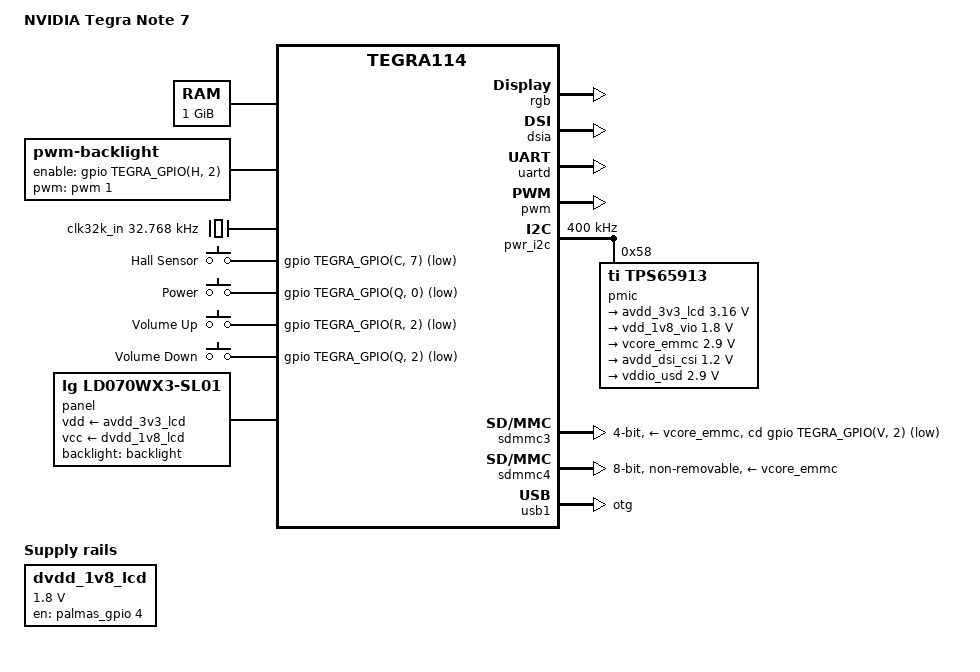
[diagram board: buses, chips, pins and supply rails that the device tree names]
// SPDX-License-Identifier: GPL-2.0
/dts-v1/;

#include <dt-bindings/input/input.h>
#include "tegra114.dtsi"

/ {
	model = "NVIDIA Tegra Note 7";
	compatible = "nvidia,tegratab", "nvidia,tegra114";

	chosen {
		stdout-path = &uartd;
	};

	aliases {
		i2c0 = &pwr_i2c;

		mmc0 = &sdmmc4; /* eMMC */
		mmc1 = &sdmmc3; /* uSD slot */

		usb0 = &usb1;
	};

	memory {
		device_type = "memory";
		reg = <0x80000000 0x40000000>;
	};

	host1x@50000000 {
		dc@54200000 {
			clocks = <&tegra_car TEGRA114_CLK_DISP1>,
				 <&tegra_car TEGRA114_CLK_PLL_D_OUT0>;

			nvidia,180-rotation;

			rgb {
				status = "okay";

				nvidia,panel = <&dsia>;
			};
		};

		dsia: dsi@54300000 {
			status = "okay";

			avdd-dsi-csi-supply = <&avdd_dsi_csi>;

			panel = <&panel>;
		};
	};

	pinmux@70000868 {
		pinctrl-names = "default";
		pinctrl-0 = <&state_default>;

		state_default: pinmux {
			/* ULPI pinmux */
			ulpi_data0 {
				nvidia,pins = "ulpi_data0_po1",
						"ulpi_data1_po2",
						"ulpi_data2_po3",
						"ulpi_data5_po6",
						"ulpi_data6_po7",
						"ulpi_data7_po0";
				nvidia,function = "ulpi";
				nvidia,pull = <TEGRA_PIN_PULL_NONE>;
				nvidia,tristate = <TEGRA_PIN_DISABLE>;
				nvidia,enable-input = <TEGRA_PIN_ENABLE>;
			};
			ulpi_data3 {
				nvidia,pins = "ulpi_data3_po4",
						"ulpi_data4_po5";
				nvidia,function = "ulpi";
				nvidia,pull = <TEGRA_PIN_PULL_UP>;
				nvidia,tristate = <TEGRA_PIN_DISABLE>;
				nvidia,enable-input = <TEGRA_PIN_ENABLE>;
			};

			/* SPI1 pinmux */
			ulpi_clk {
				nvidia,pins = "ulpi_clk_py0",
						"ulpi_nxt_py2",
						"ulpi_stp_py3";
				nvidia,function = "spi1";
				nvidia,pull = <TEGRA_PIN_PULL_NONE>;
				nvidia,tristate = <TEGRA_PIN_DISABLE>;
				nvidia,enable-input = <TEGRA_PIN_DISABLE>;
			};
			ulpi_dir {
				nvidia,pins = "ulpi_dir_py1";
				nvidia,function = "spi1";
				nvidia,pull = <TEGRA_PIN_PULL_NONE>;
				nvidia,tristate = <TEGRA_PIN_DISABLE>;
				nvidia,enable-input = <TEGRA_PIN_ENABLE>;
			};

			/* I2S0 pinmux */
			dap1_pins {
				nvidia,pins = "dap1_fs_pn0",
						"dap1_din_pn1",
						"dap1_dout_pn2",
						"dap1_sclk_pn3";
				nvidia,function = "rsvd4";
				nvidia,pull = <TEGRA_PIN_PULL_DOWN>;
				nvidia,tristate = <TEGRA_PIN_ENABLE>;
				nvidia,enable-input = <TEGRA_PIN_DISABLE>;
			};

			/* I2S1 pinmux */
			dap2_dout {
				nvidia,pins = "dap2_fs_pa2",
						"dap2_sclk_pa3",
						"dap2_dout_pa5";
				nvidia,function = "i2s1";
				nvidia,pull = <TEGRA_PIN_PULL_NONE>;
				nvidia,tristate = <TEGRA_PIN_DISABLE>;
				nvidia,enable-input = <TEGRA_PIN_DISABLE>;
			};
			dap2_din {
				nvidia,pins = "dap2_din_pa4";
				nvidia,function = "i2s1";
				nvidia,pull = <TEGRA_PIN_PULL_NONE>;
				nvidia,tristate = <TEGRA_PIN_DISABLE>;
				nvidia,enable-input = <TEGRA_PIN_ENABLE>;
			};

			/* I2S2 pinmux */
			dap3_fs_pp0 {
				nvidia,pins = "dap3_fs_pp0",
						"dap3_din_pp1",
						"dap3_dout_pp2",
						"dap3_sclk_pp3";
				nvidia,function = "i2s2";
				nvidia,pull = <TEGRA_PIN_PULL_DOWN>;
				nvidia,tristate = <TEGRA_PIN_ENABLE>;
				nvidia,enable-input = <TEGRA_PIN_DISABLE>;
			};

			pv0 {
				nvidia,pins = "pv0";
				nvidia,function = "rsvd2";
				nvidia,pull = <TEGRA_PIN_PULL_DOWN>;
				nvidia,tristate = <TEGRA_PIN_ENABLE>;
				nvidia,enable-input = <TEGRA_PIN_DISABLE>;
			};
			pv1 {
				nvidia,pins = "pv1";
				nvidia,function = "rsvd1";
				nvidia,pull = <TEGRA_PIN_PULL_DOWN>;
				nvidia,tristate = <TEGRA_PIN_ENABLE>;
				nvidia,enable-input = <TEGRA_PIN_DISABLE>;
			};

			/* I2S3 pinmux */
			dap4_din {
				nvidia,pins = "dap4_din_pp5";
				nvidia,function = "i2s3";
				nvidia,pull = <TEGRA_PIN_PULL_NONE>;
				nvidia,tristate = <TEGRA_PIN_DISABLE>;
				nvidia,enable-input = <TEGRA_PIN_ENABLE>;
			};
			dap4_dout {
				nvidia,pins = "dap4_fs_pp4",
						"dap4_dout_pp6",
						"dap4_sclk_pp7";
				nvidia,function = "i2s3";
				nvidia,pull = <TEGRA_PIN_PULL_NONE>;
				nvidia,tristate = <TEGRA_PIN_DISABLE>;
				nvidia,enable-input = <TEGRA_PIN_DISABLE>;
			};

			/* SDMMC1 pinmux */
			sdmmc1_clk {
				nvidia,pins = "sdmmc1_clk_pz0";
				nvidia,function = "sdmmc1";
				nvidia,pull = <TEGRA_PIN_PULL_NONE>;
				nvidia,tristate = <TEGRA_PIN_DISABLE>;
				nvidia,enable-input = <TEGRA_PIN_ENABLE>;
			};
			sdmmc1_cmd {
				nvidia,pins = "sdmmc1_cmd_pz1",
						"sdmmc1_dat0_py7",
						"sdmmc1_dat1_py6",
						"sdmmc1_dat2_py5",
						"sdmmc1_dat3_py4";
				nvidia,function = "sdmmc1";
				nvidia,pull = <TEGRA_PIN_PULL_UP>;
				nvidia,tristate = <TEGRA_PIN_DISABLE>;
				nvidia,enable-input = <TEGRA_PIN_ENABLE>;
			};
			sdmmc1_wp_n {
				nvidia,pins = "sdmmc1_wp_n_pv3";
				nvidia,function = "sdmmc1";
				nvidia,pull = <TEGRA_PIN_PULL_NONE>;
				nvidia,tristate = <TEGRA_PIN_DISABLE>;
				nvidia,enable-input = <TEGRA_PIN_DISABLE>;
			};

			/* SDMMC3 pinmux */
			sdmmc3_clk {
				nvidia,pins = "sdmmc3_clk_pa6";
				nvidia,function = "sdmmc3";
				nvidia,pull = <TEGRA_PIN_PULL_NONE>;
				nvidia,tristate = <TEGRA_PIN_DISABLE>;
				nvidia,enable-input = <TEGRA_PIN_DISABLE>;
			};
			sdmmc3_cmd {
				nvidia,pins = "sdmmc3_cmd_pa7",
						"sdmmc3_dat0_pb7",
						"sdmmc3_dat1_pb6",
						"sdmmc3_dat2_pb5",
						"sdmmc3_dat3_pb4",
						"sdmmc3_cd_n_pv2";
				nvidia,function = "sdmmc3";
				nvidia,pull = <TEGRA_PIN_PULL_UP>;
				nvidia,tristate = <TEGRA_PIN_DISABLE>;
				nvidia,enable-input = <TEGRA_PIN_ENABLE>;
			};
			sdmmc3_clk_lb {
				nvidia,pins = "sdmmc3_clk_lb_out_pee4",
						"sdmmc3_clk_lb_in_pee5";
				nvidia,function = "sdmmc3";
				nvidia,pull = <TEGRA_PIN_PULL_UP>;
				nvidia,tristate = <TEGRA_PIN_DISABLE>;
				nvidia,enable-input = <TEGRA_PIN_ENABLE>;
			};

			/* SDMMC4 pinmux */
			sdmmc4_clk {
				nvidia,pins = "sdmmc4_clk_pcc4";
				nvidia,function = "sdmmc4";
				nvidia,pull = <TEGRA_PIN_PULL_NONE>;
				nvidia,tristate = <TEGRA_PIN_DISABLE>;
				nvidia,enable-input = <TEGRA_PIN_ENABLE>;
			};
			sdmmc4_cmd {
				nvidia,pins = "sdmmc4_cmd_pt7",
						"sdmmc4_dat0_paa0",
						"sdmmc4_dat1_paa1",
						"sdmmc4_dat2_paa2",
						"sdmmc4_dat3_paa3",
						"sdmmc4_dat4_paa4",
						"sdmmc4_dat5_paa5",
						"sdmmc4_dat6_paa6",
						"sdmmc4_dat7_paa7";
				nvidia,function = "sdmmc4";
				nvidia,pull = <TEGRA_PIN_PULL_UP>;
				nvidia,tristate = <TEGRA_PIN_DISABLE>;
				nvidia,enable-input = <TEGRA_PIN_ENABLE>;
			};

			/* EXTPERIPH1 pinmux */
			clk1_req {
				nvidia,pins = "clk1_req_pee2";
				nvidia,function = "rsvd3";
				nvidia,pull = <TEGRA_PIN_PULL_DOWN>;
				nvidia,tristate = <TEGRA_PIN_ENABLE>;
				nvidia,enable-input = <TEGRA_PIN_DISABLE>;
			};
			clk1_out {
				nvidia,pins = "clk1_out_pw4";
				nvidia,function = "extperiph1";
				nvidia,pull = <TEGRA_PIN_PULL_NONE>;
				nvidia,tristate = <TEGRA_PIN_DISABLE>;
				nvidia,enable-input = <TEGRA_PIN_DISABLE>;
			};

			/* EXTPERIPH2 pinmux */
			clk2_req {
				nvidia,pins = "clk2_req_pcc5";
				nvidia,function = "rsvd2";
				nvidia,pull = <TEGRA_PIN_PULL_NONE>;
				nvidia,tristate = <TEGRA_PIN_DISABLE>;
				nvidia,enable-input = <TEGRA_PIN_DISABLE>;
			};
			clk2_out {
				nvidia,pins = "clk2_out_pw5";
				nvidia,function = "extperiph2";
				nvidia,pull = <TEGRA_PIN_PULL_NONE>;
				nvidia,tristate = <TEGRA_PIN_DISABLE>;
				nvidia,enable-input = <TEGRA_PIN_DISABLE>;
			};

			/* EXTPERIPH3 pinmux */
			clk3_req_pee1 {
				nvidia,pins = "clk3_req_pee1";
				nvidia,function = "rsvd2";
				nvidia,pull = <TEGRA_PIN_PULL_NONE>;
				nvidia,tristate = <TEGRA_PIN_DISABLE>;
				nvidia,enable-input = <TEGRA_PIN_DISABLE>;
			};
			clk3_out {
				nvidia,pins = "clk3_out_pee0";
				nvidia,function = "extperiph3";
				nvidia,pull = <TEGRA_PIN_PULL_NONE>;
				nvidia,tristate = <TEGRA_PIN_DISABLE>;
				nvidia,enable-input = <TEGRA_PIN_DISABLE>;
			};

			/* CLDVFS pinmux */
			dvfs_pinmux {
				nvidia,pins = "dvfs_pwm_px0",
						"dvfs_clk_px2";
				nvidia,function = "cldvfs";
				nvidia,pull = <TEGRA_PIN_PULL_NONE>;
				nvidia,tristate = <TEGRA_PIN_DISABLE>;
				nvidia,enable-input = <TEGRA_PIN_DISABLE>;
			};

			/* HDMI pinmux */
			hdmi_irq {
				nvidia,pins = "hdmi_int_pn7";
				nvidia,function = "rsvd1";
				nvidia,pull = <TEGRA_PIN_PULL_DOWN>;
				nvidia,tristate = <TEGRA_PIN_DISABLE>;
				nvidia,enable-input = <TEGRA_PIN_ENABLE>;
				nvidia,rcv-sel = <TEGRA_PIN_DISABLE>;
			};
			hdmi_cec {
				nvidia,pins = "hdmi_cec_pee3";
				nvidia,function = "cec";
				nvidia,pull = <TEGRA_PIN_PULL_NONE>;
				nvidia,tristate = <TEGRA_PIN_DISABLE>;
				nvidia,enable-input = <TEGRA_PIN_ENABLE>;
				nvidia,open-drain = <TEGRA_PIN_DISABLE>;
			};

			/* I2C1 pinmux */
			gen1_i2c {
				nvidia,pins = "gen1_i2c_scl_pc4",
						"gen1_i2c_sda_pc5";
				nvidia,function = "i2c1";
				nvidia,pull = <TEGRA_PIN_PULL_NONE>;
				nvidia,tristate = <TEGRA_PIN_DISABLE>;
				nvidia,enable-input = <TEGRA_PIN_ENABLE>;
				nvidia,open-drain = <TEGRA_PIN_ENABLE>;
			};

			/* I2C2 pinmux */
			gen2_i2c {
				nvidia,pins = "gen2_i2c_scl_pt5",
						"gen2_i2c_sda_pt6";
				nvidia,function = "i2c2";
				nvidia,pull = <TEGRA_PIN_PULL_NONE>;
				nvidia,tristate = <TEGRA_PIN_DISABLE>;
				nvidia,enable-input = <TEGRA_PIN_ENABLE>;
				nvidia,open-drain = <TEGRA_PIN_ENABLE>;
			};

			/* I2C3 pinmux */
			cam_i2c {
				nvidia,pins = "cam_i2c_scl_pbb1",
						"cam_i2c_sda_pbb2";
				nvidia,function = "i2c3";
				nvidia,pull = <TEGRA_PIN_PULL_NONE>;
				nvidia,tristate = <TEGRA_PIN_DISABLE>;
				nvidia,enable-input = <TEGRA_PIN_ENABLE>;
				nvidia,open-drain = <TEGRA_PIN_ENABLE>;
			};

			/* I2C4 pinmux */
			ddc_scl_pv4 {
				nvidia,pins = "ddc_scl_pv4",
						"ddc_sda_pv5";
				nvidia,function = "i2c4";
				nvidia,pull = <TEGRA_PIN_PULL_NONE>;
				nvidia,tristate = <TEGRA_PIN_DISABLE>;
				nvidia,enable-input = <TEGRA_PIN_ENABLE>;
				nvidia,rcv-sel = <TEGRA_PIN_DISABLE>;
			};

			/* I2CPWR pinmux */
			pwr_i2c {
				nvidia,pins = "pwr_i2c_scl_pz6",
						"pwr_i2c_sda_pz7";
				nvidia,function = "i2cpwr";
				nvidia,pull = <TEGRA_PIN_PULL_NONE>;
				nvidia,tristate = <TEGRA_PIN_DISABLE>;
				nvidia,enable-input = <TEGRA_PIN_ENABLE>;
				nvidia,open-drain = <TEGRA_PIN_ENABLE>;
			};

			/* UARTA pinmux */
			uarta_out {
				nvidia,pins = "kb_row9_ps1";
				nvidia,function = "uarta";
				nvidia,pull = <TEGRA_PIN_PULL_NONE>;
				nvidia,tristate = <TEGRA_PIN_DISABLE>;
				nvidia,enable-input = <TEGRA_PIN_DISABLE>;
			};
			uarta_in {
				nvidia,pins = "kb_row10_ps2";
				nvidia,function = "uarta";
				nvidia,pull = <TEGRA_PIN_PULL_NONE>;
				nvidia,tristate = <TEGRA_PIN_DISABLE>;
				nvidia,enable-input = <TEGRA_PIN_ENABLE>;
			};

			/* UARTB pinmux */
			uart2_cts_rts {
				nvidia,pins = "uart2_cts_n_pj5",
						"uart2_rts_n_pj6";
				nvidia,function = "rsvd3";
				nvidia,pull = <TEGRA_PIN_PULL_DOWN>;
				nvidia,tristate = <TEGRA_PIN_ENABLE>;
				nvidia,enable-input = <TEGRA_PIN_DISABLE>;
			};

			/* UARTC pinmux */
			uart3_cts_rxd {
				nvidia,pins = "uart3_cts_n_pa1",
						"uart3_rxd_pw7";
				nvidia,function = "uartc";
				nvidia,pull = <TEGRA_PIN_PULL_UP>;
				nvidia,tristate = <TEGRA_PIN_DISABLE>;
				nvidia,enable-input = <TEGRA_PIN_ENABLE>;
			};
			uart3_rts_txd {
				nvidia,pins = "uart3_rts_n_pc0",
						"uart3_txd_pw6";
				nvidia,function = "uartc";
				nvidia,pull = <TEGRA_PIN_PULL_NONE>;
				nvidia,tristate = <TEGRA_PIN_DISABLE>;
				nvidia,enable-input = <TEGRA_PIN_DISABLE>;
			};

			/* UARTD pinmux */
			gmi_a17 {
				nvidia,pins = "gmi_a17_pb0";
				nvidia,function = "uartd";
				nvidia,pull = <TEGRA_PIN_PULL_UP>;
				nvidia,tristate = <TEGRA_PIN_DISABLE>;
				nvidia,enable-input = <TEGRA_PIN_ENABLE>;
			};
			gmi_a18 {
				nvidia,pins = "gmi_a18_pb1";
				nvidia,function = "uartd";
				nvidia,pull = <TEGRA_PIN_PULL_NONE>;
				nvidia,tristate = <TEGRA_PIN_DISABLE>;
				nvidia,enable-input = <TEGRA_PIN_ENABLE>;
			};
			uartd_out {
				nvidia,pins = "gmi_a16_pj7",
						"gmi_a19_pk7";
				nvidia,function = "uartd";
				nvidia,pull = <TEGRA_PIN_PULL_NONE>;
				nvidia,tristate = <TEGRA_PIN_DISABLE>;
				nvidia,enable-input = <TEGRA_PIN_DISABLE>;
			};

			/* PORT U */
			pu0 {
				nvidia,pins = "pu0";
				nvidia,function = "rsvd3";
				nvidia,pull = <TEGRA_PIN_PULL_DOWN>;
				nvidia,tristate = <TEGRA_PIN_ENABLE>;
				nvidia,enable-input = <TEGRA_PIN_DISABLE>;
			};
			pu1_2 {
				nvidia,pins = "pu1", "pu2";
				nvidia,function = "rsvd1";
				nvidia,pull = <TEGRA_PIN_PULL_DOWN>;
				nvidia,tristate = <TEGRA_PIN_ENABLE>;
				nvidia,enable-input = <TEGRA_PIN_DISABLE>;
			};
			pu3 {
				nvidia,pins = "pu3";
				nvidia,function = "pwm0";
				nvidia,pull = <TEGRA_PIN_PULL_DOWN>;
				nvidia,tristate = <TEGRA_PIN_ENABLE>;
				nvidia,enable-input = <TEGRA_PIN_DISABLE>;
			};
			pu4 {
				nvidia,pins = "pu4";
				nvidia,function = "pwm1";
				nvidia,pull = <TEGRA_PIN_PULL_DOWN>;
				nvidia,tristate = <TEGRA_PIN_ENABLE>;
				nvidia,enable-input = <TEGRA_PIN_DISABLE>;
			};
			pu5 {
				nvidia,pins = "pu5";
				nvidia,function = "pwm2";
				nvidia,pull = <TEGRA_PIN_PULL_UP>;
				nvidia,tristate = <TEGRA_PIN_DISABLE>;
				nvidia,enable-input = <TEGRA_PIN_ENABLE>;
			};
			pu6 {
				nvidia,pins = "pu6";
				nvidia,function = "pwm3";
				nvidia,pull = <TEGRA_PIN_PULL_NONE>;
				nvidia,tristate = <TEGRA_PIN_DISABLE>;
				nvidia,enable-input = <TEGRA_PIN_ENABLE>;
			};

			/* GMI section */
			gmi_wp_n_pc7 {
				nvidia,pins = "gmi_wp_n_pc7",
						"gmi_adv_n_pk0",
						"gmi_cs0_n_pj0",
						"gmi_wr_n_pi0";
				nvidia,function = "rsvd1";
				nvidia,pull = <TEGRA_PIN_PULL_UP>;
				nvidia,tristate = <TEGRA_PIN_DISABLE>;
				nvidia,enable-input = <TEGRA_PIN_ENABLE>;
			};
			gmi_iordy_pi5 {
				nvidia,pins = "gmi_iordy_pi5";
				nvidia,function = "rsvd2";
				nvidia,pull = <TEGRA_PIN_PULL_DOWN>;
				nvidia,tristate = <TEGRA_PIN_ENABLE>;
				nvidia,enable-input = <TEGRA_PIN_DISABLE>;
			};
			gmi_wait_pi7 {
				nvidia,pins = "gmi_wait_pi7";
				nvidia,function = "nand";
				nvidia,pull = <TEGRA_PIN_PULL_NONE>;
				nvidia,tristate = <TEGRA_PIN_DISABLE>;
				nvidia,enable-input = <TEGRA_PIN_DISABLE>;
			};
			gmi_clk_pk1 {
				nvidia,pins = "gmi_clk_pk1",
						"gmi_ad10_ph2",
						"gmi_ad11_ph3",
						"gmi_ad14_ph6",
						"gmi_cs3_n_pk4";
				nvidia,function = "gmi";
				nvidia,pull = <TEGRA_PIN_PULL_NONE>;
				nvidia,tristate = <TEGRA_PIN_DISABLE>;
				nvidia,enable-input = <TEGRA_PIN_DISABLE>;
			};
			gmi_cs2_n_pk3 {
				nvidia,pins = "gmi_cs2_n_pk3";
				nvidia,function = "gmi";
				nvidia,pull = <TEGRA_PIN_PULL_UP>;
				nvidia,tristate = <TEGRA_PIN_DISABLE>;
				nvidia,enable-input = <TEGRA_PIN_ENABLE>;
			};
			gmi_cs4_n_pk2 {
				nvidia,pins = "gmi_cs4_n_pk2";
				nvidia,function = "gmi";
				nvidia,pull = <TEGRA_PIN_PULL_NONE>;
				nvidia,tristate = <TEGRA_PIN_ENABLE>;
				nvidia,enable-input = <TEGRA_PIN_ENABLE>;
			};
			gmi_cs6_n_pi3 {
				nvidia,pins = "gmi_cs6_n_pi3";
				nvidia,function = "nand";
				nvidia,pull = <TEGRA_PIN_PULL_DOWN>;
				nvidia,tristate = <TEGRA_PIN_ENABLE>;
				nvidia,enable-input = <TEGRA_PIN_DISABLE>;
			};
			gmi_cs7_n_pi6 {
				nvidia,pins = "gmi_cs7_n_pi6";
				nvidia,function = "nand";
				nvidia,pull = <TEGRA_PIN_PULL_NONE>;
				nvidia,tristate = <TEGRA_PIN_DISABLE>;
				nvidia,enable-input = <TEGRA_PIN_ENABLE>;
			};
			gmi_ad0_pg0 {
				nvidia,pins = "gmi_ad0_pg0";
				nvidia,function = "rsvd1";
				nvidia,pull = <TEGRA_PIN_PULL_NONE>;
				nvidia,tristate = <TEGRA_PIN_DISABLE>;
				nvidia,enable-input = <TEGRA_PIN_DISABLE>;
			};
			gmi_ad1_pg1 {
				nvidia,pins = "gmi_ad1_pg1",
						"gmi_ad4_pg4",
						"gmi_ad5_pg5",
						"gmi_ad6_pg6",
						"gmi_ad7_pg7";
				nvidia,function = "rsvd1";
				nvidia,pull = <TEGRA_PIN_PULL_DOWN>;
				nvidia,tristate = <TEGRA_PIN_ENABLE>;
				nvidia,enable-input = <TEGRA_PIN_DISABLE>;
			};
			gmi_ad2_pg2 {
				nvidia,pins = "gmi_ad2_pg2",
						"gmi_ad3_pg3",
						"gmi_oe_n_pi1";
				nvidia,function = "rsvd1";
				nvidia,pull = <TEGRA_PIN_PULL_NONE>;
				nvidia,tristate = <TEGRA_PIN_DISABLE>;
				nvidia,enable-input = <TEGRA_PIN_ENABLE>;
			};
			gmi_ad8_ph0 {
				nvidia,pins = "gmi_ad8_ph0";
				nvidia,function = "gmi";
				nvidia,pull = <TEGRA_PIN_PULL_DOWN>;
				nvidia,tristate = <TEGRA_PIN_ENABLE>;
				nvidia,enable-input = <TEGRA_PIN_DISABLE>;
			};
			gmi_ad9 {
				nvidia,pins = "gmi_ad9_ph1";
				nvidia,function = "pwm1";
				nvidia,pull = <TEGRA_PIN_PULL_NONE>;
				nvidia,tristate = <TEGRA_PIN_DISABLE>;
				nvidia,enable-input = <TEGRA_PIN_DISABLE>;
			};
			gmi_ad12_ph4 {
				nvidia,pins = "gmi_ad12_ph4";
				nvidia,function = "rsvd4";
				nvidia,pull = <TEGRA_PIN_PULL_UP>;
				nvidia,tristate = <TEGRA_PIN_DISABLE>;
				nvidia,enable-input = <TEGRA_PIN_ENABLE>;
			};
			gmi_ad13_ph5 {
				nvidia,pins = "gmi_ad13_ph5";
				nvidia,function = "rsvd4";
				nvidia,pull = <TEGRA_PIN_PULL_NONE>;
				nvidia,tristate = <TEGRA_PIN_DISABLE>;
				nvidia,enable-input = <TEGRA_PIN_DISABLE>;
			};
			gmi_ad15_ph7 {
				nvidia,pins = "gmi_ad15_ph7";
				nvidia,function = "gmi";
				nvidia,pull = <TEGRA_PIN_PULL_DOWN>;
				nvidia,tristate = <TEGRA_PIN_ENABLE>;
				nvidia,enable-input = <TEGRA_PIN_DISABLE>;
			};
			gmi_dqs_p_pj3 {
				nvidia,pins = "gmi_dqs_p_pj3";
				nvidia,function = "nand";
				nvidia,pull = <TEGRA_PIN_PULL_UP>;
				nvidia,tristate = <TEGRA_PIN_DISABLE>;
				nvidia,enable-input = <TEGRA_PIN_ENABLE>;
			};
			gmi_rst_n_pi4 {
				nvidia,pins = "gmi_rst_n_pi4";
				nvidia,function = "rsvd4";
				nvidia,pull = <TEGRA_PIN_PULL_NONE>;
				nvidia,tristate = <TEGRA_PIN_DISABLE>;
				nvidia,enable-input = <TEGRA_PIN_DISABLE>;
			};
			gmi_clk_lb {
				nvidia,pins = "gmi_clk_lb";
				nvidia,function = "gmi";
				nvidia,pull = <TEGRA_PIN_PULL_NONE>;
				nvidia,tristate = <TEGRA_PIN_DISABLE>;
				nvidia,enable-input = <TEGRA_PIN_ENABLE>;
			};

			/* VI_ALT3 pinmux */
			cam_mclk {
				nvidia,pins = "pbb0", "cam_mclk_pcc0";
				nvidia,function = "vi_alt3";
				nvidia,pull = <TEGRA_PIN_PULL_NONE>;
				nvidia,tristate = <TEGRA_PIN_DISABLE>;
				nvidia,enable-input = <TEGRA_PIN_DISABLE>;
			};

			/* PORT BB */
			port_bb {
				nvidia,pins = "pbb3", "pbb4", "pbb5",
						"pbb6", "pbb7";
				nvidia,function = "rsvd4";
				nvidia,pull = <TEGRA_PIN_PULL_NONE>;
				nvidia,tristate = <TEGRA_PIN_DISABLE>;
				nvidia,enable-input = <TEGRA_PIN_DISABLE>;
			};

			/* PORT CC */
			port_cc {
				nvidia,pins = "pcc1", "pcc2";
				nvidia,function = "rsvd2";
				nvidia,pull = <TEGRA_PIN_PULL_DOWN>;
				nvidia,tristate = <TEGRA_PIN_DISABLE>;
				nvidia,enable-input = <TEGRA_PIN_ENABLE>;
			};

			/* RTCK pinmux */
			jtag_rtck {
				nvidia,pins = "jtag_rtck";
				nvidia,function = "rtck";
				nvidia,pull = <TEGRA_PIN_PULL_NONE>;
				nvidia,tristate = <TEGRA_PIN_DISABLE>;
				nvidia,enable-input = <TEGRA_PIN_ENABLE>;
			};

			/* KBC pinmux */
			kb_row0_pr0 {
				nvidia,pins = "kb_row0_pr0",
						"kb_row1_pr1";
				nvidia,function = "rsvd2";
				nvidia,pull = <TEGRA_PIN_PULL_NONE>;
				nvidia,tristate = <TEGRA_PIN_DISABLE>;
				nvidia,enable-input = <TEGRA_PIN_DISABLE>;
			};
			kb_row2_pr2 {
				nvidia,pins = "kb_row2_pr2",
						"kb_col0_pq0";
				nvidia,function = "kbc";
				nvidia,pull = <TEGRA_PIN_PULL_UP>;
				nvidia,tristate = <TEGRA_PIN_DISABLE>;
				nvidia,enable-input = <TEGRA_PIN_ENABLE>;
			};
			kb_row3_pr3 {
				nvidia,pins = "kb_row3_pr3";
				nvidia,function = "rsvd3";
				nvidia,pull = <TEGRA_PIN_PULL_UP>;
				nvidia,tristate = <TEGRA_PIN_DISABLE>;
				nvidia,enable-input = <TEGRA_PIN_ENABLE>;
			};
			kb_row4_pr4 {
				nvidia,pins = "kb_row4_pr4",
						"kb_row5_pr5",
						"kb_row6_pr6",
						"kb_col3_pq3",
						"kb_col4_pq4";
				nvidia,function = "kbc";
				nvidia,pull = <TEGRA_PIN_PULL_DOWN>;
				nvidia,tristate = <TEGRA_PIN_ENABLE>;
				nvidia,enable-input = <TEGRA_PIN_DISABLE>;
			};
			kb_row7_pr7 {
				nvidia,pins = "kb_row7_pr7",
						"kb_col2_pq2",
						"kb_col5_pq5";
				nvidia,function = "rsvd2";
				nvidia,pull = <TEGRA_PIN_PULL_UP>;
				nvidia,tristate = <TEGRA_PIN_DISABLE>;
				nvidia,enable-input = <TEGRA_PIN_ENABLE>;
			};
			kb_row8_ps0 {
				nvidia,pins = "kb_row8_ps0",
						"kb_col1_pq1",
						"kb_col6_pq6",
						"kb_col7_pq7";
				nvidia,function = "rsvd2";
				nvidia,pull = <TEGRA_PIN_PULL_DOWN>;
				nvidia,tristate = <TEGRA_PIN_ENABLE>;
				nvidia,enable-input = <TEGRA_PIN_DISABLE>;
			};

			/* CORE pinmux */
			sys_clk_req {
				nvidia,pins = "sys_clk_req_pz5";
				nvidia,function = "rsvd2";
				nvidia,pull = <TEGRA_PIN_PULL_DOWN>;
				nvidia,tristate = <TEGRA_PIN_ENABLE>;
				nvidia,enable-input = <TEGRA_PIN_DISABLE>;
			};
			clk_32k_out {
				nvidia,pins = "clk_32k_out_pa0",
						"gmi_cs1_n_pj2";
				nvidia,function = "soc";
				nvidia,pull = <TEGRA_PIN_PULL_UP>;
				nvidia,tristate = <TEGRA_PIN_ENABLE>;
				nvidia,enable-input = <TEGRA_PIN_ENABLE>;
			};
			clk_32k_in {
				nvidia,pins = "clk_32k_in";
				nvidia,function = "clk";
				nvidia,pull = <TEGRA_PIN_PULL_NONE>;
				nvidia,tristate = <TEGRA_PIN_DISABLE>;
				nvidia,enable-input = <TEGRA_PIN_ENABLE>;
			};
			core_pwr_req {
				nvidia,pins = "core_pwr_req";
				nvidia,function = "pwron";
				nvidia,pull = <TEGRA_PIN_PULL_NONE>;
				nvidia,tristate = <TEGRA_PIN_DISABLE>;
				nvidia,enable-input = <TEGRA_PIN_DISABLE>;
			};
			cpu_pwr_req {
				nvidia,pins = "cpu_pwr_req";
				nvidia,function = "cpu";
				nvidia,pull = <TEGRA_PIN_PULL_NONE>;
				nvidia,tristate = <TEGRA_PIN_DISABLE>;
				nvidia,enable-input = <TEGRA_PIN_DISABLE>;
			};
			pwr_int_n {
				nvidia,pins = "pwr_int_n";
				nvidia,function = "pmi";
				nvidia,pull = <TEGRA_PIN_PULL_UP>;
				nvidia,tristate = <TEGRA_PIN_DISABLE>;
				nvidia,enable-input = <TEGRA_PIN_ENABLE>;
			};
			owr {
				nvidia,pins = "owr";
				nvidia,function = "rsvd2";
				nvidia,pull = <TEGRA_PIN_PULL_DOWN>;
				nvidia,tristate = <TEGRA_PIN_ENABLE>;
				nvidia,enable-input = <TEGRA_PIN_DISABLE>;
				nvidia,rcv-sel = <TEGRA_PIN_DISABLE>;
			};
			reset_out_n {
				nvidia,pins = "reset_out_n";
				nvidia,function = "reset_out_n";
				nvidia,pull = <TEGRA_PIN_PULL_NONE>;
				nvidia,tristate = <TEGRA_PIN_DISABLE>;
				nvidia,enable-input = <TEGRA_PIN_DISABLE>;
			};

			/* AUD pinmux */
			gpio_x1_aud_px1 {
				nvidia,pins = "gpio_x1_aud_px1";
				nvidia,function = "rsvd2";
				nvidia,pull = <TEGRA_PIN_PULL_UP>;
				nvidia,tristate = <TEGRA_PIN_DISABLE>;
				nvidia,enable-input = <TEGRA_PIN_ENABLE>;
			};
			gpio_x3_aud_px3 {
				nvidia,pins = "gpio_x3_aud_px3";
				nvidia,function = "rsvd3";
				nvidia,pull = <TEGRA_PIN_PULL_DOWN>;
				nvidia,tristate = <TEGRA_PIN_ENABLE>;
				nvidia,enable-input = <TEGRA_PIN_DISABLE>;
			};
			gpio_x4_aud_px4 {
				nvidia,pins = "gpio_x4_aud_px4",
						"gpio_x5_aud_px5",
						"gpio_x7_aud_px7";
				nvidia,function = "rsvd1";
				nvidia,pull = <TEGRA_PIN_PULL_DOWN>;
				nvidia,tristate = <TEGRA_PIN_ENABLE>;
				nvidia,enable-input = <TEGRA_PIN_DISABLE>;
			};
			gpio_x6_aud_px6 {
				nvidia,pins = "gpio_x6_aud_px6";
				nvidia,function = "rsvd4";
				nvidia,pull = <TEGRA_PIN_PULL_DOWN>;
				nvidia,tristate = <TEGRA_PIN_ENABLE>;
				nvidia,enable-input = <TEGRA_PIN_DISABLE>;
			};
			gpio_w2_aud_pw2 {
				nvidia,pins = "gpio_w2_aud_pw2";
				nvidia,function = "rsvd2";
				nvidia,pull = <TEGRA_PIN_PULL_DOWN>;
				nvidia,tristate = <TEGRA_PIN_ENABLE>;
				nvidia,enable-input = <TEGRA_PIN_DISABLE>;
			};
			gpio_w3_aud_pw3 {
				nvidia,pins = "gpio_w3_aud_pw3";
				nvidia,function = "spi6";
				nvidia,pull = <TEGRA_PIN_PULL_UP>;
				nvidia,tristate = <TEGRA_PIN_DISABLE>;
				nvidia,enable-input = <TEGRA_PIN_ENABLE>;
			};

			/* USB pinmux */
			usb_vbus_en {
				nvidia,pins = "usb_vbus_en0_pn4",
						"usb_vbus_en1_pn5";
				nvidia,function = "rsvd2";
				nvidia,pull = <TEGRA_PIN_PULL_DOWN>;
				nvidia,tristate = <TEGRA_PIN_ENABLE>;
				nvidia,enable-input = <TEGRA_PIN_DISABLE>;
				nvidia,open-drain = <TEGRA_PIN_DISABLE>;
			};

			/* GPIO power/drive control */
			drive_sdio1 {
				nvidia,pins = "drive_sdio1";
				nvidia,high-speed-mode = <TEGRA_PIN_ENABLE>;
				nvidia,schmitt = <TEGRA_PIN_DISABLE>;
				nvidia,pull-down-strength = <36>;
				nvidia,pull-up-strength = <20>;
				nvidia,slew-rate-rising = <TEGRA_PIN_SLEW_RATE_SLOW>;
				nvidia,slew-rate-falling = <TEGRA_PIN_SLEW_RATE_SLOW>;
			};
			drive_sdio3 {
				nvidia,pins = "drive_sdio3";
				nvidia,high-speed-mode = <TEGRA_PIN_ENABLE>;
				nvidia,schmitt = <TEGRA_PIN_DISABLE>;
				nvidia,pull-down-strength = <22>;
				nvidia,pull-up-strength = <36>;
				nvidia,slew-rate-rising = <TEGRA_PIN_SLEW_RATE_FASTEST>;
				nvidia,slew-rate-falling = <TEGRA_PIN_SLEW_RATE_FASTEST>;
			};
			drive_gma {
				nvidia,pins = "drive_gma";
				nvidia,high-speed-mode = <TEGRA_PIN_ENABLE>;
				nvidia,schmitt = <TEGRA_PIN_DISABLE>;
				nvidia,pull-down-strength = <2>;
				nvidia,pull-up-strength = <2>;
				nvidia,slew-rate-rising = <TEGRA_PIN_SLEW_RATE_FASTEST>;
				nvidia,slew-rate-falling = <TEGRA_PIN_SLEW_RATE_FASTEST>;
			};
		};
	};

	uartd: serial@70006300 {
		status = "okay";
	};

	pwm: pwm@7000a000 {
		status = "okay";
	};

	pwr_i2c: i2c@7000d000 {
		status = "okay";
		clock-frequency = <400000>;

		/* Texas Instruments TPS65913 PMIC */
		pmic: tps65913@58 {
			compatible = "ti,tps65913";
			reg = <0x58>;

			interrupts = <GIC_SPI 86 IRQ_TYPE_LEVEL_HIGH>;
			#interrupt-cells = <2>;
			interrupt-controller;

			ti,system-power-controller;

			palmas_gpio: gpio {
				compatible = "ti,palmas-gpio";
				gpio-controller;
				#gpio-cells = <2>;
			};

			pmic {
				compatible = "ti,tps65913-pmic";

				regulators {
					avdd_3v3_lcd: smps6 {
						regulator-name = "vdd_lcd_hv";
						regulator-min-microvolt = <3160000>;
						regulator-max-microvolt = <3160000>;
						regulator-boot-on;
					};

					vdd_1v8_vio: smps8 {
						regulator-name = "vdd_1v8_gen";
						regulator-min-microvolt = <1800000>;
						regulator-max-microvolt = <1800000>;
						regulator-always-on;
						regulator-boot-on;
					};

					vcore_emmc: smps9 {
						regulator-name = "vdd_sdmmc";
						regulator-min-microvolt = <2900000>;
						regulator-max-microvolt = <2900000>;
						regulator-always-on;
						regulator-boot-on;
					};

					avdd_dsi_csi: ldo2 {
						regulator-name = "avdd_dsi_csi";
						regulator-min-microvolt = <1200000>;
						regulator-max-microvolt = <1200000>;
						regulator-boot-on;
					};

					vddio_usd: ldo9 {
						regulator-name = "vddio_sdmmc";
						regulator-min-microvolt = <2900000>;
						regulator-max-microvolt = <2900000>;
						regulator-always-on;
						regulator-boot-on;
					};
				};
			};
		};
	};

	sdmmc3: sdhci@78000400 {
		status = "okay";
		bus-width = <4>;

		cd-gpios = <&gpio TEGRA_GPIO(V, 2) GPIO_ACTIVE_LOW>;
		power-gpios = <&gpio TEGRA_GPIO(K, 1) GPIO_ACTIVE_HIGH>;

		nvidia,default-tap = <0x3>;
		nvidia,default-trim = <0x3>;

		vmmc-supply = <&vcore_emmc>;
		vqmmc-supply = <&vddio_usd>;
	};

	sdmmc4: sdhci@78000600 {
		status = "okay";
		bus-width = <8>;
		non-removable;

		vmmc-supply = <&vcore_emmc>;
		vqmmc-supply = <&vdd_1v8_vio>;
	};

	usb1: usb@7d000000 {
		status = "okay";
		dr_mode = "otg";
	};

	backlight: backlight {
		compatible = "pwm-backlight";

		enable-gpios = <&gpio TEGRA_GPIO(H, 2) GPIO_ACTIVE_HIGH>;
		pwms = <&pwm 1 1000000>;

		brightness-levels = <1 35 70 105 140 175 210 255>;
		default-brightness-level = <5>;
	};

	clk32k_in: clock-32k {
		compatible = "fixed-clock";
		#clock-cells = <0>;
		clock-frequency = <32768>;
		clock-output-names = "ref-oscillator";
	};

	extcon-keys {
		compatible = "gpio-keys";

		switch-hall-sensor {
			label = "Hall Sensor";
			gpios = <&gpio TEGRA_GPIO(C, 7) GPIO_ACTIVE_LOW>;
			linux,code = <SW_LID>;
		};
	};

	gpio-keys {
		compatible = "gpio-keys";

		key-power {
			label = "Power";
			gpios = <&gpio TEGRA_GPIO(Q, 0) GPIO_ACTIVE_LOW>;
			linux,code = <KEY_ENTER>;
		};

		key-volume-up {
			label = "Volume Up";
			gpios = <&gpio TEGRA_GPIO(R, 2) GPIO_ACTIVE_LOW>;
			linux,code = <KEY_UP>;
		};

		key-volume-down {
			label = "Volume Down";
			gpios = <&gpio TEGRA_GPIO(Q, 2) GPIO_ACTIVE_LOW>;
			linux,code = <KEY_DOWN>;
		};
	};

	panel: panel {
		compatible = "lg,ld070wx3-sl01";

		vdd-supply = <&avdd_3v3_lcd>;
		vcc-supply = <&dvdd_1v8_lcd>;

		backlight = <&backlight>;
	};

	dvdd_1v8_lcd: regulator-lcdvio {
		compatible = "regulator-fixed";
		regulator-name = "dvdd_lcd";
		regulator-min-microvolt = <1800000>;
		regulator-max-microvolt = <1800000>;
		gpio = <&palmas_gpio 4 GPIO_ACTIVE_HIGH>;
		enable-active-high;
	};
};
